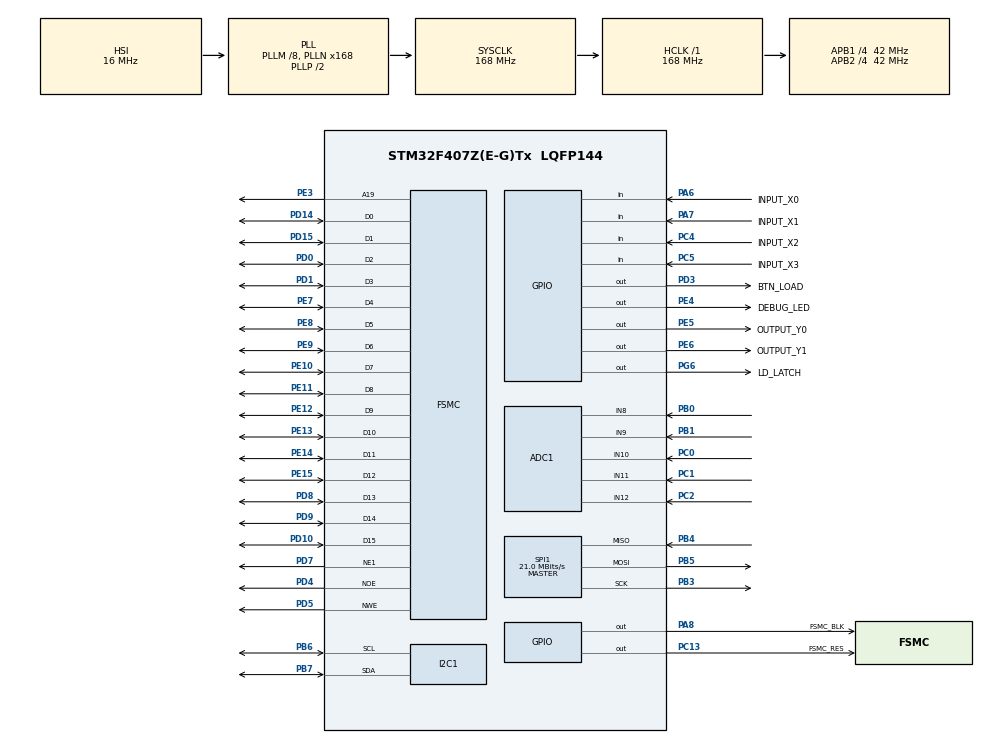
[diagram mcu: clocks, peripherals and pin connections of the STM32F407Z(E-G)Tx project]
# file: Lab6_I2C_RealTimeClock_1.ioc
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ADC1.Channel-0\#ChannelRegularConversion=ADC_CHANNEL_8
ADC1.Channel-1\#ChannelRegularConversion=ADC_CHANNEL_8
ADC1.Channel-2\#ChannelRegularConversion=ADC_CHANNEL_8
ADC1.Channel-3\#ChannelRegularConversion=ADC_CHANNEL_8
ADC1.Channel-4\#ChannelRegularConversion=ADC_CHANNEL_8
ADC1.NbrOfConversion=5
ADC1.NbrOfConversionFlag=1
ADC1.Rank-0\#ChannelRegularConversion=1
ADC1.Rank-1\#ChannelRegularConversion=2
ADC1.Rank-2\#ChannelRegularConversion=3
ADC1.Rank-3\#ChannelRegularConversion=4
ADC1.Rank-4\#ChannelRegularConversion=5
ADC1.SamplingTime-0\#ChannelRegularConversion=ADC_SAMPLETIME_3CYCLES
ADC1.SamplingTime-1\#ChannelRegularConversion=ADC_SAMPLETIME_3CYCLES
ADC1.SamplingTime-2\#ChannelRegularConversion=ADC_SAMPLETIME_3CYCLES
ADC1.SamplingTime-3\#ChannelRegularConversion=ADC_SAMPLETIME_3CYCLES
ADC1.SamplingTime-4\#ChannelRegularConversion=ADC_SAMPLETIME_3CYCLES
ADC1.ScanConvMode=ENABLE
ADC1.master=1
Dma.ADC1.0.Direction=DMA_PERIPH_TO_MEMORY
Dma.ADC1.0.FIFOMode=DMA_FIFOMODE_DISABLE
Dma.ADC1.0.Instance=DMA2_Stream0
Dma.ADC1.0.MemDataAlignment=DMA_MDATAALIGN_HALFWORD
Dma.ADC1.0.MemInc=DMA_MINC_ENABLE
Dma.ADC1.0.Mode=DMA_CIRCULAR
Dma.ADC1.0.PeriphDataAlignment=DMA_PDATAALIGN_HALFWORD
Dma.ADC1.0.PeriphInc=DMA_PINC_DISABLE
Dma.ADC1.0.Priority=DMA_PRIORITY_LOW
Dma.Request0=ADC1
FSMC.AddressSetupTime1=0xf
FSMC.BusTurnAroundDuration1=0
FSMC.DataSetupTime1=60
FSMC.ExtendedAddressSetupTime1=8
FSMC.ExtendedBusTurnAroundDuration1=0
FSMC.ExtendedDataSetupTime1=9
FSMC.ExtendedMode1=FSMC_EXTENDED_MODE_ENABLE
I2C1.I2C_Mode=I2C_Standard
Mcu.Family=STM32F4
Mcu.Name=STM32F407Z(E-G)Tx
Mcu.Package=LQFP144
NVIC.DMA2_Stream0_IRQn=true\:0\:0\:false\:false\:true\:false\:true\:true
NVIC.PriorityGroup=NVIC_PRIORITYGROUP_4
NVIC.TIM2_IRQn=true\:0\:0\:false\:false\:true\:true\:true\:true
NVIC.TIM4_IRQn=true\:0\:0\:false\:false\:true\:true\:true\:true
PA13.Mode=Serial_Wire
PA13.Signal=SYS_JTMS-SWDIO
PA14.Mode=Serial_Wire
PA14.Signal=SYS_JTCK-SWCLK
PA6.GPIO_Label=INPUT_X0
PA6.Signal=GPIO_Input
PA7.GPIO_Label=INPUT_X1
PA7.Signal=GPIO_Input
PA8.GPIO_Label=FSMC_BLK
PA8.Signal=GPIO_Output
PB0.Signal=ADCx_IN8
PB1.Signal=ADCx_IN9
PB3.Mode=Full_Duplex_Master
PB3.Signal=SPI1_SCK
PB4.Mode=Full_Duplex_Master
PB4.Signal=SPI1_MISO
PB5.Mode=Full_Duplex_Master
PB5.Signal=SPI1_MOSI
PB6.Mode=I2C
PB6.Signal=I2C1_SCL
PB7.Mode=I2C
PB7.Signal=I2C1_SDA
PC0.Signal=ADCx_IN10
PC1.Signal=ADCx_IN11
PC13-ANTI_TAMP.GPIO_Label=FSMC_RES
PC13-ANTI_TAMP.Signal=GPIO_Output
PC2.Signal=ADCx_IN12
PC4.GPIO_Label=INPUT_X2
PC4.Signal=GPIO_Input
PC5.GPIO_Label=INPUT_X3
PC5.Signal=GPIO_Input
PD0.Signal=FSMC_D2_DA2
PD1.Signal=FSMC_D3_DA3
PD10.Signal=FSMC_D15_DA15
PD14.Signal=FSMC_D0_DA0
PD15.Signal=FSMC_D1_DA1
PD3.GPIO_Label=BTN_LOAD
PD3.Signal=GPIO_Output
PD4.Signal=FSMC_NOE
PD5.Signal=FSMC_NWE
PD7.Mode=NorPsramChipSelect1_1
PD7.Signal=FSMC_NE1
PD8.Signal=FSMC_D13_DA13
PD9.Signal=FSMC_D14_DA14
PE10.Signal=FSMC_D7_DA7
PE11.Signal=FSMC_D8_DA8
PE12.Signal=FSMC_D9_DA9
PE13.Signal=FSMC_D10_DA10
PE14.Signal=FSMC_D11_DA11
PE15.Signal=FSMC_D12_DA12
PE3.Signal=FSMC_A19
PE4.GPIO_Label=DEBUG_LED
PE4.Signal=GPIO_Output
PE5.GPIO_Label=OUTPUT_Y0
PE5.Signal=GPIO_Output
PE6.GPIO_Label=OUTPUT_Y1
PE6.Signal=GPIO_Output
PE7.Signal=FSMC_D4_DA4
PE8.Signal=FSMC_D5_DA5
PE9.Signal=FSMC_D6_DA6
PG6.GPIO_Label=LD_LATCH
PG6.Signal=GPIO_Output
PH0-OSC_IN.Mode=HSE-External-Oscillator
PH0-OSC_IN.Signal=RCC_OSC_IN
PH1-OSC_OUT.Mode=HSE-External-Oscillator
PH1-OSC_OUT.Signal=RCC_OSC_OUT
ProjectManager.HeapSize=0x200
ProjectManager.StackSize=0x400
ProjectManager.TargetToolchain=STM32CubeIDE
RCC.48MHZClocksFreq_Value=84000000
RCC.AHBFreq_Value=168000000
RCC.APB1CLKDivider=RCC_HCLK_DIV4
RCC.APB1Freq_Value=42000000
RCC.APB1TimFreq_Value=84000000
RCC.APB2CLKDivider=RCC_HCLK_DIV4
RCC.APB2Freq_Value=42000000
RCC.APB2TimFreq_Value=84000000
RCC.CortexFreq_Value=168000000
RCC.HCLKFreq_Value=168000000
RCC.HSE_VALUE=8000000
RCC.HSI_VALUE=16000000
RCC.LSE_VALUE=32768
RCC.PLLM=8
RCC.PLLN=168
RCC.SYSCLKFreq_VALUE=168000000
RCC.SYSCLKSource=RCC_SYSCLKSOURCE_PLLCLK
RCC.VCOOutputFreq_Value=336000000
SH.ADCx_IN10.0=ADC1_IN10,IN10
SH.ADCx_IN11.0=ADC1_IN11,IN11
SH.ADCx_IN12.0=ADC1_IN12,IN12
SH.ADCx_IN8.0=ADC1_IN8,IN8
SH.ADCx_IN9.0=ADC1_IN9,IN9
SH.FSMC_A19.0=FSMC_A19,A19_1
SH.FSMC_D0_DA0.0=FSMC_D0,16b-d1
SH.FSMC_D10_DA10.0=FSMC_D10,16b-d1
SH.FSMC_D11_DA11.0=FSMC_D11,16b-d1
SH.FSMC_D12_DA12.0=FSMC_D12,16b-d1
SH.FSMC_D13_DA13.0=FSMC_D13,16b-d1
SH.FSMC_D14_DA14.0=FSMC_D14,16b-d1
SH.FSMC_D15_DA15.0=FSMC_D15,16b-d1
SH.FSMC_D1_DA1.0=FSMC_D1,16b-d1
SH.FSMC_D2_DA2.0=FSMC_D2,16b-d1
SH.FSMC_D3_DA3.0=FSMC_D3,16b-d1
SH.FSMC_D4_DA4.0=FSMC_D4,16b-d1
SH.FSMC_D5_DA5.0=FSMC_D5,16b-d1
SH.FSMC_D6_DA6.0=FSMC_D6,16b-d1
SH.FSMC_D7_DA7.0=FSMC_D7,16b-d1
SH.FSMC_D8_DA8.0=FSMC_D8,16b-d1
SH.FSMC_D9_DA9.0=FSMC_D9,16b-d1
SH.FSMC_NOE.0=FSMC_NOE,Lcd1
SH.FSMC_NWE.0=FSMC_NWE,Lcd1
SPI1.BaudRatePrescaler=SPI_BAUDRATEPRESCALER_2
SPI1.CalculateBaudRate=21.0 MBits/s
SPI1.Direction=SPI_DIRECTION_2LINES
SPI1.Mode=SPI_MODE_MASTER
SPI1.VirtualType=VM_MASTER
TIM2.Period=100-1
TIM2.Prescaler=840-1
TIM4.Period=100-1
TIM4.Prescaler=840-1
VP_TIM2_VS_ClockSourceINT.Mode=Internal
VP_TIM4_VS_ClockSourceINT.Mode=Internal
board=custom

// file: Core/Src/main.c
/* USER CODE BEGIN Header */
/**
 ******************************************************************************
 * @file           : main.c
 * @brief          : Main program body
 ******************************************************************************
 * @attention
 *
 * <h2><center>&copy; Copyright (c) 2023 STMicroelectronics.
 * All rights reserved.</center></h2>
 *
 * This software component is licensed by ST under BSD 3-Clause license,
 * the "License"; You may not use this file except in compliance with the
 * License. You may obtain a copy of the License at:
 *                        opensource.org/licenses/BSD-3-Clause
 *
 ******************************************************************************
 */
/* USER CODE END Header */
#include "main.h"
#include "adc.h"
#include "dma.h"
#include "i2c.h"
#include "spi.h"
#include "tim.h"
#include "gpio.h"
#include "fsmc.h"

/* USER CODE BEGIN Includes */
#include "software_timer.h"
#include "lcd.h"
#include "ds3231.h"
#include "button.h"
#include "picture.h"
#include "game_ui.h"
#include "game_logic.h"
#include <stdio.h>
/* USER CODE END Includes */

/* USER CODE BEGIN PD */
#define INIT_SYSTEM     0
#define SET_HOUR        1
#define SET_MINUTE      2
#define SET_DAY         3
#define SET_DATE        4
#define SET_MONTH       5
#define SET_YEAR        6
/* USER CODE END PD */

/* USER CODE BEGIN PV */
GameState game_state;
/* USER CODE END PV */

void SystemClock_Config(void);
/* USER CODE BEGIN PFP */
void system_init();
/* USER CODE END PFP */

int main(void)
{

  /* MCU Configuration--------------------------------------------------------*/

  /* Reset of all peripherals, Initializes the Flash interface and the Systick. */
  HAL_Init();

  /* Configure the system clock */
  SystemClock_Config();

  /* Initialize all configured peripherals */
  MX_GPIO_Init();
  MX_DMA_Init();
  MX_TIM2_Init();
  MX_SPI1_Init();
  MX_FSMC_Init();
  MX_I2C1_Init();
  MX_TIM4_Init();
  MX_ADC1_Init();
  /* USER CODE BEGIN 2 */
	system_init();
	timer2_set(20); // ~50 FPS ~ 20ms
	game_state.status = GAME_START_SCREEN;
	// Display Intro Screen (Background Image + "PRESS BUTTON 1 TO PLAY")
	lcd_show_picture(0, 0, 240, 320, gImage_BK);
	lcd_show_string_center(0, 164, "PRESS BUTTON 1 TO PLAY", WHITE, 0, 16, 1);
  /* USER CODE END 2 */

  /* Infinite loop */
  /* USER CODE BEGIN WHILE */
	while (1) {
		button_scan();

		switch (game_state.status) {
		case GAME_START_SCREEN:
			if (button_count[0] == 1) { // Change from Intro to Playing Screen
				game_init_state(&game_state);
				game_state.show_potentiometer_prompt = 1;
				game_state.status = GAME_PLAYING;
				game_draw_initial_scene(&game_state);
			}
			break;
		case GAME_PLAYING:
			if (!game_state.show_potentiometer_prompt && timer2_flag == 1) { // Game Update over ~50 FPS
				step_world(&game_state, 0.02f); // Assuming dt = 0.02 seconds for ~50 FPS
				timer2_flag = 0;
				game_update_screen(&game_state); // only updates changed components like paddle  and ball
			}
			if (game_state.show_potentiometer_prompt && button_count[2] == 1) { // Start Game after showing prompt,
																				// use potentiometer check  in the future
				game_state.show_potentiometer_prompt = 0;
				initialize_ball_velocity(&game_state.balls[0]);
				game_draw_initial_scene(&game_state);
			}

			if (button_count[4] == 1) { // Pause Button
				game_state.status = GAME_PAUSED;
				game_draw_pause_screen(&game_state);
			} else if (button_count[5] == 1) { // Game Over Button
				game_state.status = GAME_OVER;
				game_draw_game_over_screen(&game_state);
			}
			break;
		case GAME_PAUSED:
			if (button_count[4] == 1) { // Resume Button
				game_state.status = GAME_PLAYING;
				game_draw_initial_scene(&game_state);
			}
			break;
		case GAME_OVER:
			if (button_count[5] == 1) { // Restart Game from Game Over
				game_init_state(&game_state);
				game_state.status = GAME_PLAYING;
				game_state.show_potentiometer_prompt = 1;
				game_draw_initial_scene(&game_state);
			}
			break;
		default:
			break;
		}
    /* USER CODE END WHILE */

	}
}

void SystemClock_Config(void)
{
  RCC_OscInitTypeDef RCC_OscInitStruct = {0};
  RCC_ClkInitTypeDef RCC_ClkInitStruct = {0};

  /** Configure the main internal regulator output voltage
  */
  __HAL_RCC_PWR_CLK_ENABLE();
  __HAL_PWR_VOLTAGESCALING_CONFIG(PWR_REGULATOR_VOLTAGE_SCALE1);

  /** Initializes the RCC Oscillators according to the specified parameters
  * in the RCC_OscInitTypeDef structure.
  */
  RCC_OscInitStruct.OscillatorType = RCC_OSCILLATORTYPE_HSI;
  RCC_OscInitStruct.HSIState = RCC_HSI_ON;
  RCC_OscInitStruct.HSICalibrationValue = RCC_HSICALIBRATION_DEFAULT;
  RCC_OscInitStruct.PLL.PLLState = RCC_PLL_ON;
  RCC_OscInitStruct.PLL.PLLSource = RCC_PLLSOURCE_HSI;
  RCC_OscInitStruct.PLL.PLLM = 8;
  RCC_OscInitStruct.PLL.PLLN = 168;
  RCC_OscInitStruct.PLL.PLLP = RCC_PLLP_DIV2;
  RCC_OscInitStruct.PLL.PLLQ = 4;
  if (HAL_RCC_OscConfig(&RCC_OscInitStruct) != HAL_OK)
  {
    Error_Handler();
  }

  /** Initializes the CPU, AHB and APB buses clocks
  */
  RCC_ClkInitStruct.ClockType = RCC_CLOCKTYPE_HCLK|RCC_CLOCKTYPE_SYSCLK
                              |RCC_CLOCKTYPE_PCLK1|RCC_CLOCKTYPE_PCLK2;
  RCC_ClkInitStruct.SYSCLKSource = RCC_SYSCLKSOURCE_PLLCLK;
  RCC_ClkInitStruct.AHBCLKDivider = RCC_SYSCLK_DIV1;
  RCC_ClkInitStruct.APB1CLKDivider = RCC_HCLK_DIV4;
  RCC_ClkInitStruct.APB2CLKDivider = RCC_HCLK_DIV4;

  if (HAL_RCC_ClockConfig(&RCC_ClkInitStruct, FLASH_LATENCY_5) != HAL_OK)
  {
    Error_Handler();
  }
}

/* USER CODE BEGIN 4 */
void system_init() {
	HAL_GPIO_WritePin(OUTPUT_Y0_GPIO_Port, OUTPUT_Y0_Pin, 0);
	HAL_GPIO_WritePin(OUTPUT_Y1_GPIO_Port, OUTPUT_Y1_Pin, 0);
	HAL_GPIO_WritePin(DEBUG_LED_GPIO_Port, DEBUG_LED_Pin, 0);

	lcd_init();
	ds3231_init();

	timer2_init();
}
/* USER CODE END 4 */

void Error_Handler(void)
{
	__disable_irq();
	while (1) {
	}
}
